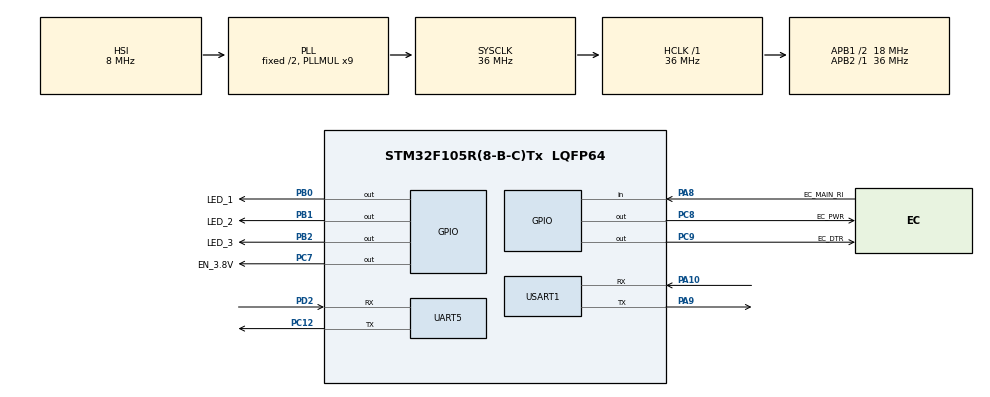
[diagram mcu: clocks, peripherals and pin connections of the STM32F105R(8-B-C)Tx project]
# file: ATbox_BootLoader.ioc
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Dma.Request0=USART1_RX
Dma.Request1=USART1_TX
Dma.USART1_RX.0.Direction=DMA_PERIPH_TO_MEMORY
Dma.USART1_RX.0.Instance=DMA1_Channel5
Dma.USART1_RX.0.MemDataAlignment=DMA_MDATAALIGN_BYTE
Dma.USART1_RX.0.MemInc=DMA_MINC_ENABLE
Dma.USART1_RX.0.Mode=DMA_NORMAL
Dma.USART1_RX.0.PeriphDataAlignment=DMA_PDATAALIGN_BYTE
Dma.USART1_RX.0.PeriphInc=DMA_PINC_DISABLE
Dma.USART1_RX.0.Priority=DMA_PRIORITY_LOW
Dma.USART1_TX.1.Direction=DMA_MEMORY_TO_PERIPH
Dma.USART1_TX.1.Instance=DMA1_Channel4
Dma.USART1_TX.1.MemDataAlignment=DMA_MDATAALIGN_BYTE
Dma.USART1_TX.1.MemInc=DMA_MINC_ENABLE
Dma.USART1_TX.1.Mode=DMA_NORMAL
Dma.USART1_TX.1.PeriphDataAlignment=DMA_PDATAALIGN_BYTE
Dma.USART1_TX.1.PeriphInc=DMA_PINC_DISABLE
Dma.USART1_TX.1.Priority=DMA_PRIORITY_LOW
Mcu.Family=STM32F1
Mcu.Name=STM32F105R(8-B-C)Tx
Mcu.Package=LQFP64
NVIC.DMA1_Channel4_IRQn=true\:0\:0\:false\:false\:true\:false\:true\:true
NVIC.DMA1_Channel5_IRQn=true\:0\:0\:false\:false\:true\:false\:true\:true
NVIC.PriorityGroup=NVIC_PRIORITYGROUP_4
NVIC.UART5_IRQn=true\:0\:0\:false\:false\:true\:true\:true\:true
NVIC.USART1_IRQn=true\:0\:0\:false\:false\:true\:false\:true\:true
PA10.Mode=Asynchronous
PA10.Signal=USART1_RX
PA13.Mode=Serial_Wire
PA13.Signal=SYS_JTMS-SWDIO
PA14.Mode=Serial_Wire
PA14.Signal=SYS_JTCK-SWCLK
PA8.GPIO_Label=EC_MAIN_RI
PA8.Signal=GPIO_Input
PA9.Mode=Asynchronous
PA9.Signal=USART1_TX
PB0.GPIO_Label=LED_1
PB0.Signal=GPIO_Output
PB1.GPIO_Label=LED_2
PB1.Signal=GPIO_Output
PB2.GPIO_Label=LED_3
PB2.Signal=GPIO_Output
PC12.Mode=Asynchronous
PC12.Signal=UART5_TX
PC7.GPIO_Label=EN_3.8V
PC7.Signal=GPIO_Output
PC8.GPIO_Label=EC_PWR
PC8.Signal=GPIO_Output
PC9.GPIO_Label=EC_DTR
PC9.Signal=GPIO_Output
PD2.Mode=Asynchronous
PD2.Signal=UART5_RX
ProjectManager.HeapSize=0x2000
ProjectManager.StackSize=0x800
ProjectManager.TargetToolchain=CMake
RCC.AHBFreq_Value=36000000
RCC.APB1CLKDivider=RCC_HCLK_DIV2
RCC.APB1Freq_Value=18000000
RCC.APB1TimFreq_Value=36000000
RCC.APB2Freq_Value=36000000
RCC.APB2TimFreq_Value=36000000
RCC.HCLKFreq_Value=36000000
RCC.PLLMUL=RCC_PLL_MUL9
RCC.SYSCLKFreq_VALUE=36000000
RCC.SYSCLKSource=RCC_SYSCLKSOURCE_PLLCLK
RCC.USBFreq_Value=24000000
UART5.VirtualMode=Asynchronous
USART1.VirtualMode=VM_ASYNC
board=custom

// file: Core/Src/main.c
/* USER CODE BEGIN Header */
/**
 ******************************************************************************
 * @file           : main.c
 * @brief          : Main program body
 ******************************************************************************
 * @attention
 *
 * Copyright (c) 2026 STMicroelectronics.
 * All rights reserved.
 *
 * This software is licensed under terms that can be found in the LICENSE file
 * in the root directory of this software component.
 * If no LICENSE file comes with this software, it is provided AS-IS.
 *
 ******************************************************************************
 */
/* USER CODE END Header */
#include "main.h"
#include "dma.h"
#include "usart.h"
#include "gpio.h"

/* USER CODE BEGIN Includes */
#include <string.h>

#include "ota_core.h"
#include "ota_ec_at.h"
#include "abox_product_port.h"
/* USER CODE END Includes */

/* USER CODE BEGIN PV */
static uint8_t g_ec_rx_dma_buf[2048];
static uint8_t g_ec_rx_parse_buf[2048];
/* USER CODE END PV */

void SystemClock_Config(void);

int main(void)
{

  /* MCU Configuration--------------------------------------------------------*/

  /* Reset of all peripherals, Initializes the Flash interface and the Systick. */
  HAL_Init();

  /* Configure the system clock */
  SystemClock_Config();

  /* Initialize all configured peripherals */
  MX_GPIO_Init();
  MX_DMA_Init();
  MX_USART1_UART_Init();
  MX_UART5_Init();
  /* USER CODE BEGIN 2 */
    ABox_ProductPlatform_Init();
    OTA_Core_Init();

    HAL_UARTEx_ReceiveToIdle_DMA(&huart1, g_ec_rx_dma_buf, sizeof(g_ec_rx_dma_buf));
    __HAL_DMA_DISABLE_IT(huart1.hdmarx, DMA_IT_HT);
  /* USER CODE END 2 */

  /* Infinite loop */
  /* USER CODE BEGIN WHILE */
    while (1)
    {
        OTA_Core_Task();
    /* USER CODE END WHILE */

    }
}

void SystemClock_Config(void)
{
  RCC_OscInitTypeDef RCC_OscInitStruct = {0};
  RCC_ClkInitTypeDef RCC_ClkInitStruct = {0};

  /** Initializes the RCC Oscillators according to the specified parameters
  * in the RCC_OscInitTypeDef structure.
  */
  RCC_OscInitStruct.OscillatorType = RCC_OSCILLATORTYPE_HSI;
  RCC_OscInitStruct.HSIState = RCC_HSI_ON;
  RCC_OscInitStruct.HSICalibrationValue = RCC_HSICALIBRATION_DEFAULT;
  RCC_OscInitStruct.Prediv1Source = RCC_PREDIV1_SOURCE_HSE;
  RCC_OscInitStruct.PLL.PLLState = RCC_PLL_ON;
  RCC_OscInitStruct.PLL.PLLSource = RCC_PLLSOURCE_HSI_DIV2;
  RCC_OscInitStruct.PLL.PLLMUL = RCC_PLL_MUL9;
  RCC_OscInitStruct.PLL2.PLL2State = RCC_PLL_NONE;
  if (HAL_RCC_OscConfig(&RCC_OscInitStruct) != HAL_OK)
  {
    Error_Handler();
  }

  /** Initializes the CPU, AHB and APB buses clocks
  */
  RCC_ClkInitStruct.ClockType = RCC_CLOCKTYPE_HCLK|RCC_CLOCKTYPE_SYSCLK
                              |RCC_CLOCKTYPE_PCLK1|RCC_CLOCKTYPE_PCLK2;
  RCC_ClkInitStruct.SYSCLKSource = RCC_SYSCLKSOURCE_PLLCLK;
  RCC_ClkInitStruct.AHBCLKDivider = RCC_SYSCLK_DIV1;
  RCC_ClkInitStruct.APB1CLKDivider = RCC_HCLK_DIV2;
  RCC_ClkInitStruct.APB2CLKDivider = RCC_HCLK_DIV1;

  if (HAL_RCC_ClockConfig(&RCC_ClkInitStruct, FLASH_LATENCY_1) != HAL_OK)
  {
    Error_Handler();
  }

  /** Configure the Systick interrupt time
  */
  __HAL_RCC_PLLI2S_ENABLE();
}

/* USER CODE BEGIN 4 */
void HAL_UARTEx_RxEventCallback(UART_HandleTypeDef* huart, uint16_t Size)
{
    if (huart->Instance == USART1)
    {
        uint16_t copy_len = Size;

        if (copy_len > sizeof(g_ec_rx_parse_buf)) { copy_len = sizeof(g_ec_rx_parse_buf); }

        /* 先把本次数据快速拷出来 */
        if (copy_len > 0U) { memcpy(g_ec_rx_parse_buf, g_ec_rx_dma_buf, copy_len); }

        /* 立刻重挂 DMA，缩短接收空窗期 */
        HAL_UARTEx_ReceiveToIdle_DMA(&huart1, g_ec_rx_dma_buf, sizeof(g_ec_rx_dma_buf));
        __HAL_DMA_DISABLE_IT(huart1.hdmarx, DMA_IT_HT);

        /* 再做解析 */
        if (copy_len > 0U) { OTA_EC_AT_OnRx(g_ec_rx_parse_buf, copy_len); }
    }
}
/* USER CODE END 4 */

void Error_Handler(void)
{
    __disable_irq();
    while (1) {}
}
